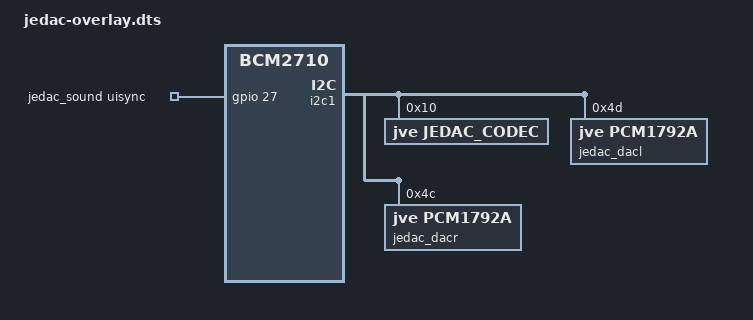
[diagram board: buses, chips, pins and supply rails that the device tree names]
// Definitions for Jos van Eijndhoven's DAC "jedac"
// intended to be attached to a Raspberry Pi
// January 2016
//
// For info on dts files see:
// https://www.raspberrypi.com/documentation/computers/configuration.html#device-trees-overlays-and-parameters

/dts-v1/;
/plugin/;

/ {
	compatible = "brcm,bcm2710";


	/* --- I2C Devices --- */
	fragment@0 {
		target = <&i2c1>;
		__overlay__ {
			#address-cells = <1>;
			#size-cells = <0>;
			status = "okay";

			jedac_codec: jedac_codec@10 {
				// property causes subnode as one of dai_link->num_codecs
				// and inclusion in the dai_link->codecs array.
				compatible = "jve,jedac_codec";
				reg = <0x10>; // Is address of onboard fpga
        #sound-dai-cells = <0>;
				status = "okay";
			};

			jedac_dacl: pcm1792a@4d {
				compatible = "jve,pcm1792a";  // my own i2c device
				reg = <0x4d>; // left audio channel
				status = "okay";
			};

			jedac_dacr: pcm1792a@4c {
				compatible = "jve,pcm1792a";  // my own i2c device
				reg = <0x4c>; // right audio channel
				status = "okay";
			};
		};
	};

  /* --- GPIO Pins --- */
	fragment@1 {
    target = <&gpio>;
    __overlay__ {
      jedac_pins: jedac_pins {
        brcm,pins = <27>;     /* BCM GPIO number */
        brcm,function = <0>;  /* 0:in, 1:out, 2:alt5, etc. */
        brcm,pull = <2>;      /* 0:none, 1:down, 2:up */
      };
    };
  };

  /* --- The Sound Card --- */
	fragment@2 {
		target-path = "/"; /* Targeting root instead of &sound */
		// target = <&sound>;
		__overlay__ {
      jedac_sound: jedac_sound {
        compatible = "jve,jedac_bcm";
  			status = "okay";

  			jve,dac_l = <&jedac_dacl>;
	  		jve,dac_r = <&jedac_dacr>;

  			pinctrl-names = "default";
        pinctrl-0 = <&jedac_pins>;
        // define 'uisync' as name to find in the driver
        // mode 22 = GPIO_OPEN_DRAIN | GPIO_PULL_UP
			  uisync-gpios = <&gpio 27 22>;

        simple-audio-card,cpu {
          sound-dai = <&i2s>;
        };

        simple-audio-card,codec {
          sound-dai = <&jedac_codec>;
        };
			};
		};
	};

	/* Explicitly enable I2S in a separate way that doesn't overlap the sound card */
  //fragment@3 {
  //  target = <&i2s>;
  //  __overlay__ {
  //      status = "okay";
  //  };
  //};
};
